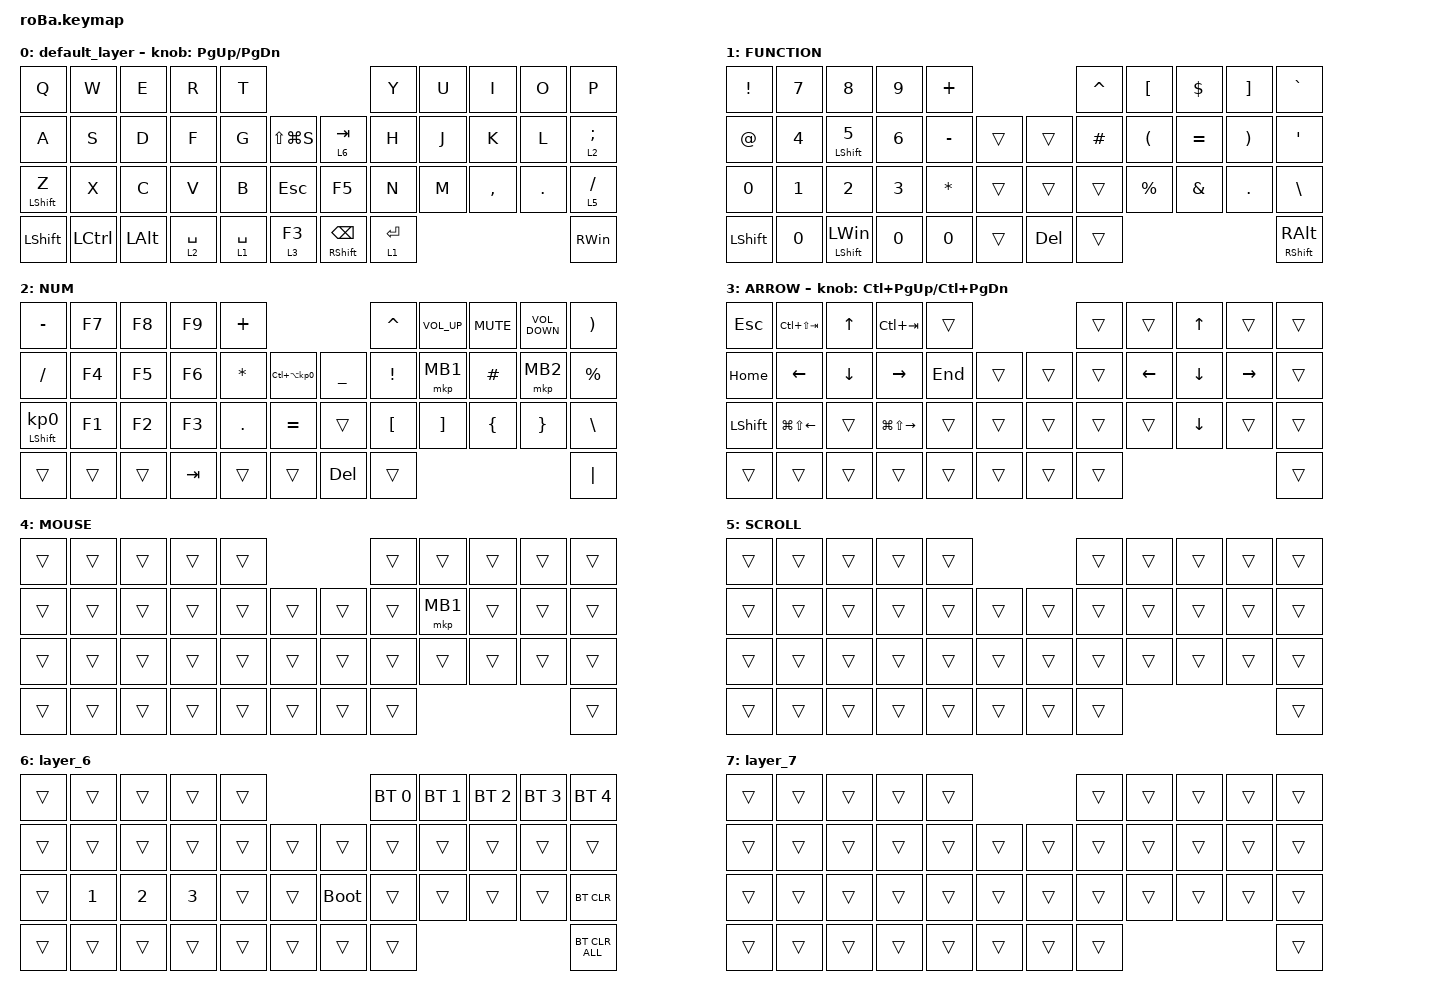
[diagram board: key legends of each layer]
#include <behaviors.dtsi>
#include <dt-bindings/zmk/bt.h>
#include <dt-bindings/zmk/keys.h>
#include <dt-bindings/zmk/pointing.h>

#define MOUSE 4
#define SCROLL 5
#define NUM 6

&mt {
    flavor = "balanced";
    quick-tap-ms = <0>;
};

/ {
    combos {
        compatible = "zmk,combos";

        tab {
            bindings = <&kp TAB>;
            key-positions = <11 12>;
        };

        shift_tab {
            bindings = <&kp LS(TAB)>;
            key-positions = <12 13>;
        };

        muhennkann {
            bindings = <&to_layer_0 INT_MUHENKAN>;
            key-positions = <11 10>;
        };

        double_quotation {
            bindings = <&kp DOUBLE_QUOTES>;
            key-positions = <20 21>;
        };

        eq {
            bindings = <&kp EQUAL>;
            key-positions = <24 25>;
        };
    };

    macros {
        to_layer_0: to_layer_0 {
            compatible = "zmk,behavior-macro-one-param";
            #binding-cells = <1>;
            bindings = <&to 0 &macro_param_1to1 &kp MACRO_PLACEHOLDER>;
            label = "TO_LAYER_0";
        };
    };

    behaviors {
        lt_to_layer_0: lt_to_layer_0 {
            compatible = "zmk,behavior-hold-tap";
            label = "LAYER_TAP_TO_0";
            bindings = <&mo>, <&to_layer_0>;

            #binding-cells = <2>;
            tapping-term-ms = <200>;
        };
    };

    keymap {
        compatible = "zmk,keymap";

        default_layer {
            bindings = <
&kp Q             &kp W      &kp E         &kp R                   &kp T                                                 &kp Y        &kp U  &kp I      &kp O    &kp P
&kp A             &kp S      &kp D         &kp F                   &kp G        &kp LS(LG(S))      &lt 6 TAB             &kp H        &kp J  &kp K      &kp L    &lt 2 SEMICOLON
&mt LEFT_SHIFT Z  &kp X      &kp C         &kp V                   &kp B        &kp ESCAPE         &kp F5                &kp N        &kp M  &kp COMMA  &kp DOT  &lt 5 SLASH
&kp LSHFT         &kp LCTRL  &kp LEFT_ALT  &lt_to_layer_0 2 SPACE  &lt 1 SPACE  &lt 3 F3           &mt RSHIFT BACKSPACE  &lt 1 ENTER                             &kp RIGHT_WIN
            >;

            sensor-bindings = <&inc_dec_kp PG_UP PAGE_DOWN>;
        };

        FUNCTION {
            bindings = <
&kp EXCLAMATION  &kp N7        &kp NUMBER_8             &kp NUMBER_9  &kp PLUS                              &kp CARET  &kp LEFT_BRACKET      &kp DOLLAR     &kp RIGHT_BRACKET      &kp GRAVE
&kp AT_SIGN      &kp NUMBER_4  &mt LEFT_SHIFT N5        &kp NUMBER_6  &kp MINUS     &trans      &trans      &kp HASH   &kp LEFT_PARENTHESIS  &kp EQUAL      &kp RIGHT_PARENTHESIS  &kp SINGLE_QUOTE
&kp N0           &kp NUMBER_1  &kp NUMBER_2             &kp NUMBER_3  &kp ASTERISK  &trans      &trans      &trans     &kp PERCENT           &kp AMPERSAND  &kp PERIOD             &kp BACKSLASH
&kp LEFT_SHIFT   &kp N0        &mt LEFT_SHIFT LEFT_WIN  &kp N0        &kp N0        &trans      &kp DELETE  &trans                                                                 &mt RIGHT_SHIFT RIGHT_ALT
            >;
        };

        NUM {
            bindings = <
&kp MINUS                   &kp F7  &kp F8  &kp F9   &kp PLUS                                                   &kp CARET         &kp K_VOLUME_UP    &kp C_MUTE      &kp K_VOLUME_DOWN  &kp RIGHT_PARENTHESIS
&kp SLASH                   &kp F4  &kp F5  &kp F6   &kp ASTERISK  &kp LC(LA(KP_NUMBER_0))      &kp UNDERSCORE  &kp EXCLAMATION   &mkp MB1           &kp HASH        &mkp MB2           &kp PERCENT
&mt LEFT_SHIFT KP_NUMBER_0  &kp F1  &kp F2  &kp F3   &kp PERIOD    &kp EQUAL                    &trans          &kp LEFT_BRACKET  &kp RIGHT_BRACKET  &kp LEFT_BRACE  &kp RIGHT_BRACE    &kp BACKSLASH
&trans                      &trans  &trans  &kp TAB  &trans        &trans                       &kp DELETE      &trans                                                                  &kp PIPE
            >;
        };

        ARROW {
            bindings = <
&kp ESCAPE      &kp LC(LS(TAB))         &kp UP_ARROW    &kp LC(TAB)              &trans                       &trans  &trans          &kp UP_ARROW    &trans           &trans
&kp HOME        &kp LEFT_ARROW          &kp DOWN_ARROW  &kp RIGHT_ARROW          &kp END  &trans      &trans  &trans  &kp LEFT_ARROW  &kp DOWN_ARROW  &kp RIGHT_ARROW  &trans
&kp LEFT_SHIFT  &kp LG(LS(LEFT_ARROW))  &trans          &kp LG(LS(RIGHT_ARROW))  &trans   &trans      &trans  &trans  &trans          &kp DOWN_ARROW  &trans           &trans
&trans          &trans                  &trans          &trans                   &trans   &trans      &trans  &trans                                                   &trans
            >;

            sensor-bindings = <&inc_dec_kp LC(PAGE_UP) LC(PAGE_DOWN)>;
        };

        MOUSE {
            bindings = <
&trans  &trans  &trans  &trans  &trans                      &trans  &trans    &trans  &trans  &trans
&trans  &trans  &trans  &trans  &trans  &trans      &trans  &trans  &mkp MB1  &trans  &trans  &trans
&trans  &trans  &trans  &trans  &trans  &trans      &trans  &trans  &trans    &trans  &trans  &trans
&trans  &trans  &trans  &trans  &trans  &trans      &trans  &trans                            &trans
            >;
        };

        SCROLL {
            bindings = <
&trans  &trans  &trans  &trans  &trans                      &trans  &trans  &trans  &trans  &trans
&trans  &trans  &trans  &trans  &trans  &trans      &trans  &trans  &trans  &trans  &trans  &trans
&trans  &trans  &trans  &trans  &trans  &trans      &trans  &trans  &trans  &trans  &trans  &trans
&trans  &trans  &trans  &trans  &trans  &trans      &trans  &trans                          &trans
            >;
        };

        layer_6 {
            bindings = <
&trans  &trans        &trans        &trans        &trans                           &bt BT_SEL 0  &bt BT_SEL 1  &bt BT_SEL 2  &bt BT_SEL 3  &bt BT_SEL 4
&trans  &trans        &trans        &trans        &trans  &trans      &trans       &trans        &trans        &trans        &trans        &trans
&trans  &kp NUMBER_1  &kp NUMBER_2  &kp NUMBER_3  &trans  &trans      &bootloader  &trans        &trans        &trans        &trans        &bt BT_CLR
&trans  &trans        &trans        &trans        &trans  &trans      &trans       &trans                                                  &bt BT_CLR_ALL
            >;
        };

        layer_7 {
            bindings = <
&trans  &trans  &trans  &trans  &trans                      &trans  &trans  &trans  &trans  &trans
&trans  &trans  &trans  &trans  &trans  &trans      &trans  &trans  &trans  &trans  &trans  &trans
&trans  &trans  &trans  &trans  &trans  &trans      &trans  &trans  &trans  &trans  &trans  &trans
&trans  &trans  &trans  &trans  &trans  &trans      &trans  &trans                          &trans
            >;
        };
    };
};
